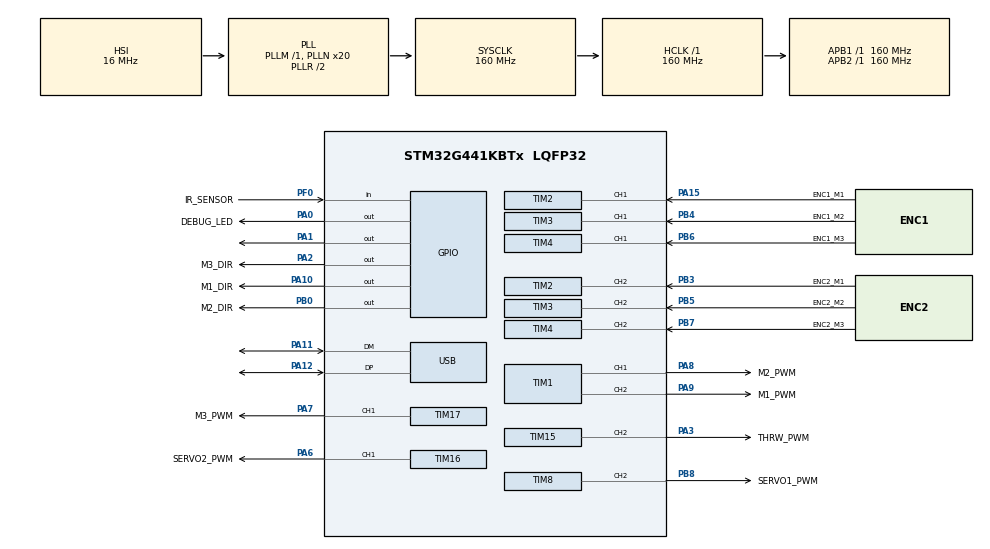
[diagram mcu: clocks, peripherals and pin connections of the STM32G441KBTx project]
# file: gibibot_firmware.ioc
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Mcu.Family=STM32G4
Mcu.Name=STM32G441KBTx
Mcu.Package=LQFP32
NVIC.PriorityGroup=NVIC_PRIORITYGROUP_4
NVIC.TIM6_DAC_IRQn=true\:0\:0\:false\:false\:true\:true\:true\:true
NVIC.USB_LP_IRQn=true\:0\:0\:false\:false\:true\:false\:true\:true
PA0.GPIO_Label=DEBUG_LED
PA0.Signal=GPIO_Output
PA1.Signal=GPIO_Output
PA10.GPIO_Label=M1_DIR
PA10.Signal=GPIO_Output
PA11.Mode=Device
PA11.Signal=USB_DM
PA12.Mode=Device
PA12.Signal=USB_DP
PA13.Mode=Serial_Wire
PA13.Signal=SYS_JTMS-SWDIO
PA14.Mode=Serial_Wire
PA14.Signal=SYS_JTCK-SWCLK
PA15.GPIO_Label=ENC1_M1
PA15.GPIO_ModeDefaultPP=GPIO_MODE_AF_PP
PA15.GPIO_PuPd=GPIO_NOPULL
PA15.GPIO_Speed=GPIO_SPEED_FREQ_LOW
PA15.Signal=S_TIM2_CH1
PA2.GPIO_Label=M3_DIR
PA2.Signal=GPIO_Output
PA3.GPIO_Label=THRW_PWM
PA3.GPIO_ModeDefaultPP=GPIO_MODE_AF_PP
PA3.GPIO_PuPd=GPIO_NOPULL
PA3.GPIO_Speed=GPIO_SPEED_FREQ_LOW
PA3.Signal=S_TIM15_CH2
PA6.GPIO_Label=SERVO2_PWM
PA6.Signal=S_TIM16_CH1
PA7.GPIO_Label=M3_PWM
PA7.Signal=S_TIM17_CH1
PA8.GPIO_Label=M2_PWM
PA8.Signal=S_TIM1_CH1
PA9.GPIO_Label=M1_PWM
PA9.Signal=S_TIM1_CH2
PB0.GPIO_Label=M2_DIR
PB0.Signal=GPIO_Output
PB3.GPIO_Label=ENC2_M1
PB3.GPIO_ModeDefaultPP=GPIO_MODE_AF_PP
PB3.GPIO_PuPd=GPIO_NOPULL
PB3.GPIO_Speed=GPIO_SPEED_FREQ_LOW
PB3.Signal=S_TIM2_CH2
PB4.GPIO_Label=ENC1_M2
PB4.Signal=S_TIM3_CH1
PB5.GPIO_Label=ENC2_M2
PB5.Signal=S_TIM3_CH2
PB6.GPIO_Label=ENC1_M3
PB6.Signal=S_TIM4_CH1
PB7.GPIO_Label=ENC2_M3
PB7.Signal=S_TIM4_CH2
PB8-BOOT0.GPIO_Label=SERVO1_PWM
PB8-BOOT0.Signal=S_TIM8_CH2
PF0-OSC_IN.GPIO_Label=IR_SENSOR
PF0-OSC_IN.Signal=GPIO_Input
ProjectManager.HeapSize=0x200
ProjectManager.StackSize=0x400
ProjectManager.TargetToolchain=STM32CubeIDE
RCC.ADC12Freq_Value=160000000
RCC.AHBFreq_Value=160000000
RCC.APB1Freq_Value=160000000
RCC.APB1TimFreq_Value=160000000
RCC.APB2Freq_Value=160000000
RCC.APB2TimFreq_Value=160000000
RCC.CK48CLockSelection=RCC_USBCLKSOURCE_HSI48
RCC.CortexFreq_Value=160000000
RCC.EXTERNAL_CLOCK_VALUE=12288000
RCC.HCLKFreq_Value=160000000
RCC.HSE_VALUE=8000000
RCC.HSI48_VALUE=48000000
RCC.HSI_VALUE=16000000
RCC.LSE_VALUE=32768
RCC.PLLN=20
RCC.SYSCLKFreq_VALUE=160000000
RCC.SYSCLKSource=RCC_SYSCLKSOURCE_PLLCLK
RCC.USBFreq_Value=48000000
RCC.VCOOutputFreq_Value=320000000
SH.S_TIM15_CH2.0=TIM15_CH2,PWM Generation2 CH2
SH.S_TIM16_CH1.0=TIM16_CH1,PWM Generation1 CH1
SH.S_TIM17_CH1.0=TIM17_CH1,PWM Generation1 CH1
SH.S_TIM1_CH1.0=TIM1_CH1,PWM Generation1 CH1
SH.S_TIM1_CH2.0=TIM1_CH2,PWM Generation2 CH2
SH.S_TIM2_CH1.0=TIM2_CH1,Encoder_Interface
SH.S_TIM2_CH2.0=TIM2_CH2,Encoder_Interface
SH.S_TIM3_CH1.0=TIM3_CH1,Encoder_Interface
SH.S_TIM3_CH2.0=TIM3_CH2,Encoder_Interface
SH.S_TIM4_CH1.0=TIM4_CH1,Encoder_Interface
SH.S_TIM4_CH2.0=TIM4_CH2,Encoder_Interface
SH.S_TIM8_CH2.0=TIM8_CH2,PWM Generation2 CH2
TIM1.Channel-PWM\ Generation1\ CH1=TIM_CHANNEL_1
TIM1.Channel-PWM\ Generation2\ CH2=TIM_CHANNEL_2
TIM1.PulseNoDither_1=0
TIM15.Channel-PWM\ Generation2\ CH2=TIM_CHANNEL_2
TIM15.OCMode_PWM-PWM\ Generation2\ CH2=TIM_OCMODE_PWM1
TIM15.PeriodNoDither=63999
TIM15.Prescaler=49
TIM16.Channel=TIM_CHANNEL_1
TIM16.PeriodNoDither=63999
TIM16.Prescaler=49
TIM17.Channel=TIM_CHANNEL_1
TIM2.EncoderMode=TIM_ENCODERMODE_TI12
TIM2.PeriodNoDither=65535
TIM3.EncoderMode=TIM_ENCODERMODE_TI12
TIM4.EncoderMode=TIM_ENCODERMODE_TI12
TIM6.PeriodNoDither=999
TIM6.Prescaler=1599
TIM8.Channel-PWM\ Generation2\ CH2=TIM_CHANNEL_2
TIM8.PeriodNoDither=63999
TIM8.Prescaler=49
USB_DEVICE.CLASS_NAME_FS=CDC
USB_DEVICE.VirtualMode=Cdc
USB_DEVICE.VirtualModeFS=Cdc_FS
VP_TIM16_VS_ClockSourceINT.Mode=Enable_Timer
VP_TIM17_VS_ClockSourceINT.Mode=Enable_Timer
VP_TIM6_VS_ClockSourceINT.Mode=Enable_Timer
VP_USB_DEVICE_VS_USB_DEVICE_CDC_FS.Mode=CDC_FS
board=custom

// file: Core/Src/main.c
/* USER CODE BEGIN Header */
/**
  ******************************************************************************
  * @file           : main.c
  * @brief          : Main program body
  ******************************************************************************
  * @attention
  *
  * Copyright (c) 2022 STMicroelectronics.
  * All rights reserved.
  *
  * This software is licensed under terms that can be found in the LICENSE file
  * in the root directory of this software component.
  * If no LICENSE file comes with this software, it is provided AS-IS.
  *
  ******************************************************************************
  */
/* USER CODE END Header */
#include "main.h"
#include "usb_device.h"

/* USER CODE BEGIN Includes */
#include "usbd_cdc_if.h"
/* USER CODE END Includes */

TIM_HandleTypeDef htim1;
TIM_HandleTypeDef htim2;
TIM_HandleTypeDef htim3;
TIM_HandleTypeDef htim4;
TIM_HandleTypeDef htim6;
TIM_HandleTypeDef htim8;
TIM_HandleTypeDef htim15;
TIM_HandleTypeDef htim16;
TIM_HandleTypeDef htim17;

void SystemClock_Config(void);
static void MX_GPIO_Init(void);
static void MX_TIM1_Init(void);
static void MX_TIM2_Init(void);
static void MX_TIM3_Init(void);
static void MX_TIM4_Init(void);
static void MX_TIM15_Init(void);
static void MX_TIM16_Init(void);
static void MX_TIM17_Init(void);
static void MX_TIM8_Init(void);
static void MX_TIM6_Init(void);

/* USER CODE BEGIN 0 */
typedef struct Command {
  int16_t speed1;
  int16_t speed2;
  int16_t speed3;
  uint16_t throwerSpeed;
  uint16_t throwerAngle;
  uint16_t throwerGrab;
  uint16_t delimiter;
} Command;

typedef struct Feedback {
  int16_t ballDetected;
  uint16_t delimiter;
} Feedback;

int16_t IRsensor;

typedef struct MotorControl {
	int16_t gainP;
	int16_t gainI;
	int16_t gainD;
	int32_t integral;
	int16_t positionChange;
	int16_t position;
} MotorControl;

MotorControl motorControl1 = {.position = 0, .positionChange = 0, .gainP = 1000, .gainI = 50, .gainD = 10, .integral = 0};
MotorControl motorControl2 = {.position = 0, .positionChange = 0, .gainP = 1000, .gainI = 50, .gainD = 10, .integral = 0};
MotorControl motorControl3 = {.position = 0, .positionChange = 0, .gainP = 1000, .gainI = 50, .gainD = 10, .integral = 0};

Command command = {
		.speed1 = 0,
		.speed2 = 0,
		.speed3 = 0,
		.throwerSpeed = 0,
		.throwerAngle = 6900,
		.throwerGrab = 4800,
		.delimiter = 0};

volatile uint8_t isCommandReceived = 0;

void CDC_On_Receive(uint8_t* buffer, uint32_t* length) {
  if (*length == sizeof(Command)) {
    memcpy(&command, buffer, sizeof(Command));

    if (command.delimiter == 0xAAAA) {
      isCommandReceived = 1;
    }
  }
}

int32_t ClampValueI32(int32_t val, int32_t min, int32_t max) {
	if (val < min) {
		return min;
	}
	if (val > max) {
		return max;
	}
	return val;
}

uint16_t ClampValueU16(uint16_t val, uint16_t min, uint16_t max) {
	if (val < min) {
		return min;
	}
	if (val > max) {
		return max;
	}
	return val;
}

int32_t ControlMotor(MotorControl* motorControl, int16_t position, int16_t set_speed) {
	motorControl->positionChange = (position-motorControl->position); //Calculates the position change
	int16_t error = (set_speed-motorControl->positionChange); //Calculates the error
	motorControl->integral+=error;
	motorControl->integral=ClampValueI32(motorControl->integral, -65535/motorControl->gainI, 65535/motorControl->gainI); //Adds the errors together and clamps the value
	motorControl->position = position; //Previous position is now the current position
	return (error*motorControl->gainP + motorControl->gainI*motorControl->integral + motorControl->positionChange*motorControl->gainD);
}

void EnableMotorDrivers() {
	HAL_GPIO_WritePin(GPIOA, GPIO_PIN_1, GPIO_PIN_SET);
	for (int i = 0; i < 350; i++) {
	  __asm("nop");
	}
	HAL_GPIO_WritePin(GPIOA, GPIO_PIN_1, GPIO_PIN_RESET);
	for (int i = 0; i < 350; i++) {
	  __asm("nop");
	}
	HAL_GPIO_WritePin(GPIOA, GPIO_PIN_1, GPIO_PIN_SET);
}

void UpdateServosAndThrower() {
	//Start thrower speed < 3200
	//Thrower speed between 3200 and 6400
	TIM15->CCR2 = command.throwerSpeed+3150;
	//Thrower angle
	TIM8->CCR2 = ClampValueU16(command.throwerAngle, 2700, 6900);
	//Grabber
	TIM16->CCR1 = ClampValueU16(command.throwerGrab, 2700, 6900);
}

void HAL_TIM_PeriodElapsedCallback(TIM_HandleTypeDef *htim) {
	//Reading the motor encoders and calculating motor pwm
	int32_t motor1PWM = ClampValueI32(ControlMotor(&motorControl1, (int16_t)TIM2->CNT, command.speed1), -65535, 65535);
	//Direction M1
	if (motor1PWM < 0) {
		HAL_GPIO_WritePin(M1_DIR_GPIO_Port, M1_DIR_Pin, 0);
	} else {
		HAL_GPIO_WritePin(M1_DIR_GPIO_Port, M1_DIR_Pin, 1);
	}
	int32_t motor2PWM = ClampValueI32(ControlMotor(&motorControl2, (int16_t)TIM3->CNT, command.speed2), -65535, 65535);
	//Direction M2
	if (motor2PWM < 0) {
		HAL_GPIO_WritePin(M2_DIR_GPIO_Port, M2_DIR_Pin, 0);
	} else {
		HAL_GPIO_WritePin(M2_DIR_GPIO_Port, M2_DIR_Pin, 1);
	}
	int32_t motor3PWM = ClampValueI32(ControlMotor(&motorControl3, (int16_t)TIM4->CNT, command.speed3), -65535, 65535);
	//Direction M3
	if (motor3PWM < 0) {
		HAL_GPIO_WritePin(M3_DIR_GPIO_Port, M3_DIR_Pin, 0);
	} else {
		HAL_GPIO_WritePin(M3_DIR_GPIO_Port, M3_DIR_Pin, 1);
	}
	//Changing motor pwm
	TIM1->CCR2 = abs(motor1PWM);
	TIM1->CCR1 = abs(motor2PWM);
	TIM17->CCR1 = abs(motor3PWM);
}

/* USER CODE END 0 */

int main(void)
{

  /* MCU Configuration--------------------------------------------------------*/

  /* Reset of all peripherals, Initializes the Flash interface and the Systick. */
  HAL_Init();

  /* Configure the system clock */
  SystemClock_Config();

  /* Initialize all configured peripherals */
  MX_GPIO_Init();
  MX_TIM1_Init();
  MX_TIM2_Init();
  MX_TIM3_Init();
  MX_TIM4_Init();
  MX_TIM15_Init();
  MX_TIM16_Init();
  MX_TIM17_Init();
  MX_USB_Device_Init();
  MX_TIM8_Init();
  MX_TIM6_Init();
  /* USER CODE BEGIN 2 */

  Feedback feedback = {
		.ballDetected = 0,
        .delimiter = 0xAAAA
    };

  //ENCODERS
  HAL_TIM_Encoder_Start(&htim2, TIM_CHANNEL_1 | TIM_CHANNEL_2); //M1 encoder
  HAL_TIM_Encoder_Start(&htim3, TIM_CHANNEL_1 | TIM_CHANNEL_2); //M2 encoder
  HAL_TIM_Encoder_Start(&htim4, TIM_CHANNEL_1 | TIM_CHANNEL_2); //M3 encoder
  //PWM
  HAL_TIM_PWM_Start(&htim1, TIM_CHANNEL_1);    //M2 PWM
  HAL_TIM_PWM_Start(&htim1, TIM_CHANNEL_2);    //M1 PWM
  HAL_TIM_PWM_Start(&htim17, TIM_CHANNEL_1);   //M3 PWM
  HAL_TIM_PWM_Start(&htim15, TIM_CHANNEL_2);   //THROWER PWM
  HAL_TIM_PWM_Start(&htim8, TIM_CHANNEL_2);    //SERVO1
  HAL_TIM_PWM_Start(&htim16, TIM_CHANNEL_1);   //SERVO2

  HAL_TIM_Base_Start_IT(&htim6); //Timer for motor speed

  //Wakes up the thrower
  TIM15->CCR2 = 3150;
  /* USER CODE END 2 */

  /* Infinite loop */
  /* USER CODE BEGIN WHILE */
  while (1)
  {
	UpdateServosAndThrower();
	IRsensor = HAL_GPIO_ReadPin(IR_SENSOR_GPIO_Port, IR_SENSOR_Pin);
	HAL_GPIO_WritePin(DEBUG_LED_GPIO_Port, DEBUG_LED_Pin, IRsensor);
    /* USER CODE END WHILE */

    /* USER CODE BEGIN 3 */
	if (isCommandReceived) {
		isCommandReceived = 0;

		EnableMotorDrivers(); //Sends the nsleep signal to motor drivers
		feedback.ballDetected = IRsensor;

		CDC_Transmit_FS((uint8_t*)&feedback, (uint16_t)sizeof(feedback));
    }
  }
  /* USER CODE END 3 */
}

void SystemClock_Config(void)
{
  RCC_OscInitTypeDef RCC_OscInitStruct = {0};
  RCC_ClkInitTypeDef RCC_ClkInitStruct = {0};

  /** Configure the main internal regulator output voltage
  */
  HAL_PWREx_ControlVoltageScaling(PWR_REGULATOR_VOLTAGE_SCALE1_BOOST);

  /** Initializes the RCC Oscillators according to the specified parameters
  * in the RCC_OscInitTypeDef structure.
  */
  RCC_OscInitStruct.OscillatorType = RCC_OSCILLATORTYPE_HSI|RCC_OSCILLATORTYPE_HSI48;
  RCC_OscInitStruct.HSIState = RCC_HSI_ON;
  RCC_OscInitStruct.HSICalibrationValue = RCC_HSICALIBRATION_DEFAULT;
  RCC_OscInitStruct.HSI48State = RCC_HSI48_ON;
  RCC_OscInitStruct.PLL.PLLState = RCC_PLL_ON;
  RCC_OscInitStruct.PLL.PLLSource = RCC_PLLSOURCE_HSI;
  RCC_OscInitStruct.PLL.PLLM = RCC_PLLM_DIV1;
  RCC_OscInitStruct.PLL.PLLN = 20;
  RCC_OscInitStruct.PLL.PLLP = RCC_PLLP_DIV2;
  RCC_OscInitStruct.PLL.PLLQ = RCC_PLLQ_DIV2;
  RCC_OscInitStruct.PLL.PLLR = RCC_PLLR_DIV2;
  if (HAL_RCC_OscConfig(&RCC_OscInitStruct) != HAL_OK)
  {
    Error_Handler();
  }

  /** Initializes the CPU, AHB and APB buses clocks
  */
  RCC_ClkInitStruct.ClockType = RCC_CLOCKTYPE_HCLK|RCC_CLOCKTYPE_SYSCLK
                              |RCC_CLOCKTYPE_PCLK1|RCC_CLOCKTYPE_PCLK2;
  RCC_ClkInitStruct.SYSCLKSource = RCC_SYSCLKSOURCE_PLLCLK;
  RCC_ClkInitStruct.AHBCLKDivider = RCC_SYSCLK_DIV1;
  RCC_ClkInitStruct.APB1CLKDivider = RCC_HCLK_DIV1;
  RCC_ClkInitStruct.APB2CLKDivider = RCC_HCLK_DIV1;

  if (HAL_RCC_ClockConfig(&RCC_ClkInitStruct, FLASH_LATENCY_4) != HAL_OK)
  {
    Error_Handler();
  }
}

static void MX_TIM1_Init(void)
{

  TIM_MasterConfigTypeDef sMasterConfig = {0};
  TIM_OC_InitTypeDef sConfigOC = {0};
  TIM_BreakDeadTimeConfigTypeDef sBreakDeadTimeConfig = {0};

  htim1.Instance = TIM1;
  htim1.Init.Prescaler = 0;
  htim1.Init.CounterMode = TIM_COUNTERMODE_UP;
  htim1.Init.Period = 65535;
  htim1.Init.ClockDivision = TIM_CLOCKDIVISION_DIV1;
  htim1.Init.RepetitionCounter = 0;
  htim1.Init.AutoReloadPreload = TIM_AUTORELOAD_PRELOAD_DISABLE;
  if (HAL_TIM_PWM_Init(&htim1) != HAL_OK)
  {
    Error_Handler();
  }
  sMasterConfig.MasterOutputTrigger = TIM_TRGO_RESET;
  sMasterConfig.MasterOutputTrigger2 = TIM_TRGO2_RESET;
  sMasterConfig.MasterSlaveMode = TIM_MASTERSLAVEMODE_DISABLE;
  if (HAL_TIMEx_MasterConfigSynchronization(&htim1, &sMasterConfig) != HAL_OK)
  {
    Error_Handler();
  }
  sConfigOC.OCMode = TIM_OCMODE_PWM1;
  sConfigOC.Pulse = 0;
  sConfigOC.OCPolarity = TIM_OCPOLARITY_HIGH;
  sConfigOC.OCNPolarity = TIM_OCNPOLARITY_HIGH;
  sConfigOC.OCFastMode = TIM_OCFAST_DISABLE;
  sConfigOC.OCIdleState = TIM_OCIDLESTATE_RESET;
  sConfigOC.OCNIdleState = TIM_OCNIDLESTATE_RESET;
  if (HAL_TIM_PWM_ConfigChannel(&htim1, &sConfigOC, TIM_CHANNEL_1) != HAL_OK)
  {
    Error_Handler();
  }
  if (HAL_TIM_PWM_ConfigChannel(&htim1, &sConfigOC, TIM_CHANNEL_2) != HAL_OK)
  {
    Error_Handler();
  }
  sBreakDeadTimeConfig.OffStateRunMode = TIM_OSSR_DISABLE;
  sBreakDeadTimeConfig.OffStateIDLEMode = TIM_OSSI_DISABLE;
  sBreakDeadTimeConfig.LockLevel = TIM_LOCKLEVEL_OFF;
  sBreakDeadTimeConfig.DeadTime = 0;
  sBreakDeadTimeConfig.BreakState = TIM_BREAK_DISABLE;
  sBreakDeadTimeConfig.BreakPolarity = TIM_BREAKPOLARITY_HIGH;
  sBreakDeadTimeConfig.BreakFilter = 0;
  sBreakDeadTimeConfig.BreakAFMode = TIM_BREAK_AFMODE_INPUT;
  sBreakDeadTimeConfig.Break2State = TIM_BREAK2_DISABLE;
  sBreakDeadTimeConfig.Break2Polarity = TIM_BREAK2POLARITY_HIGH;
  sBreakDeadTimeConfig.Break2Filter = 0;
  sBreakDeadTimeConfig.Break2AFMode = TIM_BREAK_AFMODE_INPUT;
  sBreakDeadTimeConfig.AutomaticOutput = TIM_AUTOMATICOUTPUT_DISABLE;
  if (HAL_TIMEx_ConfigBreakDeadTime(&htim1, &sBreakDeadTimeConfig) != HAL_OK)
  {
    Error_Handler();
  }
  HAL_TIM_MspPostInit(&htim1);

}

static void MX_TIM2_Init(void)
{

  TIM_Encoder_InitTypeDef sConfig = {0};
  TIM_MasterConfigTypeDef sMasterConfig = {0};

  htim2.Instance = TIM2;
  htim2.Init.Prescaler = 0;
  htim2.Init.CounterMode = TIM_COUNTERMODE_UP;
  htim2.Init.Period = 65535;
  htim2.Init.ClockDivision = TIM_CLOCKDIVISION_DIV1;
  htim2.Init.AutoReloadPreload = TIM_AUTORELOAD_PRELOAD_DISABLE;
  sConfig.EncoderMode = TIM_ENCODERMODE_TI12;
  sConfig.IC1Polarity = TIM_ICPOLARITY_RISING;
  sConfig.IC1Selection = TIM_ICSELECTION_DIRECTTI;
  sConfig.IC1Prescaler = TIM_ICPSC_DIV1;
  sConfig.IC1Filter = 0;
  sConfig.IC2Polarity = TIM_ICPOLARITY_RISING;
  sConfig.IC2Selection = TIM_ICSELECTION_DIRECTTI;
  sConfig.IC2Prescaler = TIM_ICPSC_DIV1;
  sConfig.IC2Filter = 0;
  if (HAL_TIM_Encoder_Init(&htim2, &sConfig) != HAL_OK)
  {
    Error_Handler();
  }
  sMasterConfig.MasterOutputTrigger = TIM_TRGO_RESET;
  sMasterConfig.MasterSlaveMode = TIM_MASTERSLAVEMODE_DISABLE;
  if (HAL_TIMEx_MasterConfigSynchronization(&htim2, &sMasterConfig) != HAL_OK)
  {
    Error_Handler();
  }

}

static void MX_TIM3_Init(void)
{

  TIM_Encoder_InitTypeDef sConfig = {0};
  TIM_MasterConfigTypeDef sMasterConfig = {0};

  htim3.Instance = TIM3;
  htim3.Init.Prescaler = 0;
  htim3.Init.CounterMode = TIM_COUNTERMODE_UP;
  htim3.Init.Period = 65535;
  htim3.Init.ClockDivision = TIM_CLOCKDIVISION_DIV1;
  htim3.Init.AutoReloadPreload = TIM_AUTORELOAD_PRELOAD_DISABLE;
  sConfig.EncoderMode = TIM_ENCODERMODE_TI12;
  sConfig.IC1Polarity = TIM_ICPOLARITY_RISING;
  sConfig.IC1Selection = TIM_ICSELECTION_DIRECTTI;
  sConfig.IC1Prescaler = TIM_ICPSC_DIV1;
  sConfig.IC1Filter = 0;
  sConfig.IC2Polarity = TIM_ICPOLARITY_RISING;
  sConfig.IC2Selection = TIM_ICSELECTION_DIRECTTI;
  sConfig.IC2Prescaler = TIM_ICPSC_DIV1;
  sConfig.IC2Filter = 0;
  if (HAL_TIM_Encoder_Init(&htim3, &sConfig) != HAL_OK)
  {
    Error_Handler();
  }
  sMasterConfig.MasterOutputTrigger = TIM_TRGO_RESET;
  sMasterConfig.MasterSlaveMode = TIM_MASTERSLAVEMODE_DISABLE;
  if (HAL_TIMEx_MasterConfigSynchronization(&htim3, &sMasterConfig) != HAL_OK)
  {
    Error_Handler();
  }

}

static void MX_TIM4_Init(void)
{

  TIM_Encoder_InitTypeDef sConfig = {0};
  TIM_MasterConfigTypeDef sMasterConfig = {0};

  htim4.Instance = TIM4;
  htim4.Init.Prescaler = 0;
  htim4.Init.CounterMode = TIM_COUNTERMODE_UP;
  htim4.Init.Period = 65535;
  htim4.Init.ClockDivision = TIM_CLOCKDIVISION_DIV1;
  htim4.Init.AutoReloadPreload = TIM_AUTORELOAD_PRELOAD_DISABLE;
  sConfig.EncoderMode = TIM_ENCODERMODE_TI12;
  sConfig.IC1Polarity = TIM_ICPOLARITY_RISING;
  sConfig.IC1Selection = TIM_ICSELECTION_DIRECTTI;
  sConfig.IC1Prescaler = TIM_ICPSC_DIV1;
  sConfig.IC1Filter = 0;
  sConfig.IC2Polarity = TIM_ICPOLARITY_RISING;
  sConfig.IC2Selection = TIM_ICSELECTION_DIRECTTI;
  sConfig.IC2Prescaler = TIM_ICPSC_DIV1;
  sConfig.IC2Filter = 0;
  if (HAL_TIM_Encoder_Init(&htim4, &sConfig) != HAL_OK)
  {
    Error_Handler();
  }
  sMasterConfig.MasterOutputTrigger = TIM_TRGO_RESET;
  sMasterConfig.MasterSlaveMode = TIM_MASTERSLAVEMODE_DISABLE;
  if (HAL_TIMEx_MasterConfigSynchronization(&htim4, &sMasterConfig) != HAL_OK)
  {
    Error_Handler();
  }

}

static void MX_TIM6_Init(void)
{

  TIM_MasterConfigTypeDef sMasterConfig = {0};

  htim6.Instance = TIM6;
  htim6.Init.Prescaler = 1599;
  htim6.Init.CounterMode = TIM_COUNTERMODE_UP;
  htim6.Init.Period = 999;
  htim6.Init.AutoReloadPreload = TIM_AUTORELOAD_PRELOAD_DISABLE;
  if (HAL_TIM_Base_Init(&htim6) != HAL_OK)
  {
    Error_Handler();
  }
  sMasterConfig.MasterOutputTrigger = TIM_TRGO_RESET;
  sMasterConfig.MasterSlaveMode = TIM_MASTERSLAVEMODE_DISABLE;
  if (HAL_TIMEx_MasterConfigSynchronization(&htim6, &sMasterConfig) != HAL_OK)
  {
    Error_Handler();
  }

}

static void MX_TIM8_Init(void)
{

  TIM_MasterConfigTypeDef sMasterConfig = {0};
  TIM_OC_InitTypeDef sConfigOC = {0};
  TIM_BreakDeadTimeConfigTypeDef sBreakDeadTimeConfig = {0};

  htim8.Instance = TIM8;
  htim8.Init.Prescaler = 49;
  htim8.Init.CounterMode = TIM_COUNTERMODE_UP;
  htim8.Init.Period = 63999;
  htim8.Init.ClockDivision = TIM_CLOCKDIVISION_DIV1;
  htim8.Init.RepetitionCounter = 0;
  htim8.Init.AutoReloadPreload = TIM_AUTORELOAD_PRELOAD_DISABLE;
  if (HAL_TIM_PWM_Init(&htim8) != HAL_OK)
  {
    Error_Handler();
  }
  sMasterConfig.MasterOutputTrigger = TIM_TRGO_RESET;
  sMasterConfig.MasterOutputTrigger2 = TIM_TRGO2_RESET;
  sMasterConfig.MasterSlaveMode = TIM_MASTERSLAVEMODE_DISABLE;
  if (HAL_TIMEx_MasterConfigSynchronization(&htim8, &sMasterConfig) != HAL_OK)
  {
    Error_Handler();
  }
  sConfigOC.OCMode = TIM_OCMODE_PWM1;
  sConfigOC.Pulse = 0;
  sConfigOC.OCPolarity = TIM_OCPOLARITY_HIGH;
  sConfigOC.OCNPolarity = TIM_OCNPOLARITY_HIGH;
  sConfigOC.OCFastMode = TIM_OCFAST_DISABLE;
  sConfigOC.OCIdleState = TIM_OCIDLESTATE_RESET;
  sConfigOC.OCNIdleState = TIM_OCNIDLESTATE_RESET;
  if (HAL_TIM_PWM_ConfigChannel(&htim8, &sConfigOC, TIM_CHANNEL_2) != HAL_OK)
  {
    Error_Handler();
  }
  sBreakDeadTimeConfig.OffStateRunMode = TIM_OSSR_DISABLE;
  sBreakDeadTimeConfig.OffStateIDLEMode = TIM_OSSI_DISABLE;
  sBreakDeadTimeConfig.LockLevel = TIM_LOCKLEVEL_OFF;
  sBreakDeadTimeConfig.DeadTime = 0;
  sBreakDeadTimeConfig.BreakState = TIM_BREAK_DISABLE;
  sBreakDeadTimeConfig.BreakPolarity = TIM_BREAKPOLARITY_HIGH;
  sBreakDeadTimeConfig.BreakFilter = 0;
  sBreakDeadTimeConfig.BreakAFMode = TIM_BREAK_AFMODE_INPUT;
  sBreakDeadTimeConfig.Break2State = TIM_BREAK2_DISABLE;
  sBreakDeadTimeConfig.Break2Polarity = TIM_BREAK2POLARITY_HIGH;
  sBreakDeadTimeConfig.Break2Filter = 0;
  sBreakDeadTimeConfig.Break2AFMode = TIM_BREAK_AFMODE_INPUT;
  sBreakDeadTimeConfig.AutomaticOutput = TIM_AUTOMATICOUTPUT_DISABLE;
  if (HAL_TIMEx_ConfigBreakDeadTime(&htim8, &sBreakDeadTimeConfig) != HAL_OK)
  {
    Error_Handler();
  }
  HAL_TIM_MspPostInit(&htim8);

}

static void MX_TIM15_Init(void)
{

  TIM_MasterConfigTypeDef sMasterConfig = {0};
  TIM_OC_InitTypeDef sConfigOC = {0};
  TIM_BreakDeadTimeConfigTypeDef sBreakDeadTimeConfig = {0};

  htim15.Instance = TIM15;
  htim15.Init.Prescaler = 49;
  htim15.Init.CounterMode = TIM_COUNTERMODE_UP;
  htim15.Init.Period = 63999;
  htim15.Init.ClockDivision = TIM_CLOCKDIVISION_DIV1;
  htim15.Init.RepetitionCounter = 0;
  htim15.Init.AutoReloadPreload = TIM_AUTORELOAD_PRELOAD_DISABLE;
  if (HAL_TIM_PWM_Init(&htim15) != HAL_OK)
  {
    Error_Handler();
  }
  sMasterConfig.MasterOutputTrigger = TIM_TRGO_RESET;
  sMasterConfig.MasterSlaveMode = TIM_MASTERSLAVEMODE_DISABLE;
  if (HAL_TIMEx_MasterConfigSynchronization(&htim15, &sMasterConfig) != HAL_OK)
  {
    Error_Handler();
  }
  sConfigOC.OCMode = TIM_OCMODE_PWM1;
  sConfigOC.Pulse = 0;
  sConfigOC.OCPolarity = TIM_OCPOLARITY_HIGH;
  sConfigOC.OCNPolarity = TIM_OCNPOLARITY_HIGH;
  sConfigOC.OCFastMode = TIM_OCFAST_DISABLE;
  sConfigOC.OCIdleState = TIM_OCIDLESTATE_RESET;
  sConfigOC.OCNIdleState = TIM_OCNIDLESTATE_RESET;
  if (HAL_TIM_PWM_ConfigChannel(&htim15, &sConfigOC, TIM_CHANNEL_2) != HAL_OK)
  {
    Error_Handler();
  }
  sBreakDeadTimeConfig.OffStateRunMode = TIM_OSSR_DISABLE;
  sBreakDeadTimeConfig.OffStateIDLEMode = TIM_OSSI_DISABLE;
  sBreakDeadTimeConfig.LockLevel = TIM_LOCKLEVEL_OFF;
  sBreakDeadTimeConfig.DeadTime = 0;
  sBreakDeadTimeConfig.BreakState = TIM_BREAK_DISABLE;
  sBreakDeadTimeConfig.BreakPolarity = TIM_BREAKPOLARITY_HIGH;
  sBreakDeadTimeConfig.BreakFilter = 0;
  sBreakDeadTimeConfig.AutomaticOutput = TIM_AUTOMATICOUTPUT_DISABLE;
  if (HAL_TIMEx_ConfigBreakDeadTime(&htim15, &sBreakDeadTimeConfig) != HAL_OK)
  {
    Error_Handler();
  }
  HAL_TIM_MspPostInit(&htim15);

}

static void MX_TIM16_Init(void)
{

  TIM_OC_InitTypeDef sConfigOC = {0};
  TIM_BreakDeadTimeConfigTypeDef sBreakDeadTimeConfig = {0};

  htim16.Instance = TIM16;
  htim16.Init.Prescaler = 49;
  htim16.Init.CounterMode = TIM_COUNTERMODE_UP;
  htim16.Init.Period = 63999;
  htim16.Init.ClockDivision = TIM_CLOCKDIVISION_DIV1;
  htim16.Init.RepetitionCounter = 0;
  htim16.Init.AutoReloadPreload = TIM_AUTORELOAD_PRELOAD_DISABLE;
  if (HAL_TIM_Base_Init(&htim16) != HAL_OK)
  {
    Error_Handler();
  }
  if (HAL_TIM_PWM_Init(&htim16) != HAL_OK)
  {
    Error_Handler();
  }
  sConfigOC.OCMode = TIM_OCMODE_PWM1;
  sConfigOC.Pulse = 0;
  sConfigOC.OCPolarity = TIM_OCPOLARITY_HIGH;
  sConfigOC.OCNPolarity = TIM_OCNPOLARITY_HIGH;
  sConfigOC.OCFastMode = TIM_OCFAST_DISABLE;
  sConfigOC.OCIdleState = TIM_OCIDLESTATE_RESET;
  sConfigOC.OCNIdleState = TIM_OCNIDLESTATE_RESET;
  if (HAL_TIM_PWM_ConfigChannel(&htim16, &sConfigOC, TIM_CHANNEL_1) != HAL_OK)
  {
    Error_Handler();
  }
  sBreakDeadTimeConfig.OffStateRunMode = TIM_OSSR_DISABLE;
  sBreakDeadTimeConfig.OffStateIDLEMode = TIM_OSSI_DISABLE;
  sBreakDeadTimeConfig.LockLevel = TIM_LOCKLEVEL_OFF;
  sBreakDeadTimeConfig.DeadTime = 0;
  sBreakDeadTimeConfig.BreakState = TIM_BREAK_DISABLE;
  sBreakDeadTimeConfig.BreakPolarity = TIM_BREAKPOLARITY_HIGH;
  sBreakDeadTimeConfig.BreakFilter = 0;
  sBreakDeadTimeConfig.AutomaticOutput = TIM_AUTOMATICOUTPUT_DISABLE;
  if (HAL_TIMEx_ConfigBreakDeadTime(&htim16, &sBreakDeadTimeConfig) != HAL_OK)
  {
    Error_Handler();
  }
  HAL_TIM_MspPostInit(&htim16);

}

static void MX_TIM17_Init(void)
{

  TIM_OC_InitTypeDef sConfigOC = {0};
  TIM_BreakDeadTimeConfigTypeDef sBreakDeadTimeConfig = {0};

  htim17.Instance = TIM17;
  htim17.Init.Prescaler = 0;
  htim17.Init.CounterMode = TIM_COUNTERMODE_UP;
  htim17.Init.Period = 65535;
  htim17.Init.ClockDivision = TIM_CLOCKDIVISION_DIV1;
  htim17.Init.RepetitionCounter = 0;
  htim17.Init.AutoReloadPreload = TIM_AUTORELOAD_PRELOAD_DISABLE;
  if (HAL_TIM_Base_Init(&htim17) != HAL_OK)
  {
    Error_Handler();
  }
  if (HAL_TIM_PWM_Init(&htim17) != HAL_OK)
  {
    Error_Handler();
  }
  sConfigOC.OCMode = TIM_OCMODE_PWM1;
  sConfigOC.Pulse = 0;
  sConfigOC.OCPolarity = TIM_OCPOLARITY_HIGH;
  sConfigOC.OCNPolarity = TIM_OCNPOLARITY_HIGH;
  sConfigOC.OCFastMode = TIM_OCFAST_DISABLE;
  sConfigOC.OCIdleState = TIM_OCIDLESTATE_RESET;
  sConfigOC.OCNIdleState = TIM_OCNIDLESTATE_RESET;
  if (HAL_TIM_PWM_ConfigChannel(&htim17, &sConfigOC, TIM_CHANNEL_1) != HAL_OK)
  {
    Error_Handler();
  }
  sBreakDeadTimeConfig.OffStateRunMode = TIM_OSSR_DISABLE;
  sBreakDeadTimeConfig.OffStateIDLEMode = TIM_OSSI_DISABLE;
  sBreakDeadTimeConfig.LockLevel = TIM_LOCKLEVEL_OFF;
  sBreakDeadTimeConfig.DeadTime = 0;
  sBreakDeadTimeConfig.BreakState = TIM_BREAK_DISABLE;
  sBreakDeadTimeConfig.BreakPolarity = TIM_BREAKPOLARITY_HIGH;
  sBreakDeadTimeConfig.BreakFilter = 0;
  sBreakDeadTimeConfig.AutomaticOutput = TIM_AUTOMATICOUTPUT_DISABLE;
  if (HAL_TIMEx_ConfigBreakDeadTime(&htim17, &sBreakDeadTimeConfig) != HAL_OK)
  {
    Error_Handler();
  }
  HAL_TIM_MspPostInit(&htim17);

}

static void MX_GPIO_Init(void)
{
  GPIO_InitTypeDef GPIO_InitStruct = {0};

  /* GPIO Ports Clock Enable */
  __HAL_RCC_GPIOF_CLK_ENABLE();
  __HAL_RCC_GPIOA_CLK_ENABLE();
  __HAL_RCC_GPIOB_CLK_ENABLE();

  /*Configure GPIO pin Output Level */
  HAL_GPIO_WritePin(GPIOA, DEBUG_LED_Pin|GPIO_PIN_1|M3_DIR_Pin|M1_DIR_Pin, GPIO_PIN_RESET);

  /*Configure GPIO pin Output Level */
  HAL_GPIO_WritePin(M2_DIR_GPIO_Port, M2_DIR_Pin, GPIO_PIN_RESET);

  /*Configure GPIO pin : IR_SENSOR_Pin */
  GPIO_InitStruct.Pin = IR_SENSOR_Pin;
  GPIO_InitStruct.Mode = GPIO_MODE_INPUT;
  GPIO_InitStruct.Pull = GPIO_NOPULL;
  HAL_GPIO_Init(IR_SENSOR_GPIO_Port, &GPIO_InitStruct);

  /*Configure GPIO pins : DEBUG_LED_Pin PA1 M3_DIR_Pin M1_DIR_Pin */
  GPIO_InitStruct.Pin = DEBUG_LED_Pin|GPIO_PIN_1|M3_DIR_Pin|M1_DIR_Pin;
  GPIO_InitStruct.Mode = GPIO_MODE_OUTPUT_PP;
  GPIO_InitStruct.Pull = GPIO_NOPULL;
  GPIO_InitStruct.Speed = GPIO_SPEED_FREQ_LOW;
  HAL_GPIO_Init(GPIOA, &GPIO_InitStruct);

  /*Configure GPIO pin : M2_DIR_Pin */
  GPIO_InitStruct.Pin = M2_DIR_Pin;
  GPIO_InitStruct.Mode = GPIO_MODE_OUTPUT_PP;
  GPIO_InitStruct.Pull = GPIO_NOPULL;
  GPIO_InitStruct.Speed = GPIO_SPEED_FREQ_LOW;
  HAL_GPIO_Init(M2_DIR_GPIO_Port, &GPIO_InitStruct);

}

void Error_Handler(void)
{
  __disable_irq();
  while (1)
  {
  }
}
